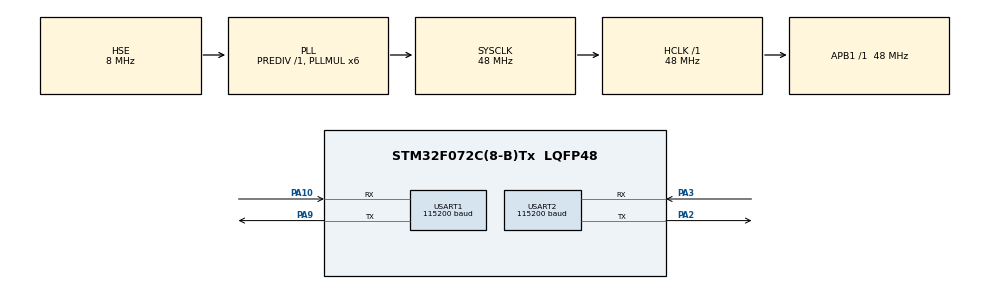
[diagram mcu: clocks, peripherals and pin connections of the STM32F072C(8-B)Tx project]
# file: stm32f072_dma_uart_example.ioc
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Dma.Request0=USART2_RX
Dma.USART2_RX.0.Direction=DMA_PERIPH_TO_MEMORY
Dma.USART2_RX.0.Instance=DMA1_Channel5
Dma.USART2_RX.0.MemDataAlignment=DMA_MDATAALIGN_BYTE
Dma.USART2_RX.0.MemInc=DMA_MINC_ENABLE
Dma.USART2_RX.0.Mode=DMA_CIRCULAR
Dma.USART2_RX.0.PeriphDataAlignment=DMA_PDATAALIGN_BYTE
Dma.USART2_RX.0.PeriphInc=DMA_PINC_DISABLE
Dma.USART2_RX.0.Priority=DMA_PRIORITY_LOW
Mcu.Family=STM32F0
Mcu.Name=STM32F072C(8-B)Tx
Mcu.Package=LQFP48
NVIC.DMA1_Channel4_5_6_7_IRQn=true\:0\:0\:false\:false\:true\:false\:true
PA10.Mode=Asynchronous
PA10.Signal=USART1_RX
PA13.Mode=Serial_Wire
PA13.Signal=SYS_SWDIO
PA14.Mode=Serial_Wire
PA14.Signal=SYS_SWCLK
PA2.Mode=Asynchronous
PA2.Signal=USART2_TX
PA3.Mode=Asynchronous
PA3.Signal=USART2_RX
PA9.Mode=Asynchronous
PA9.Signal=USART1_TX
PF0-OSC_IN.Mode=HSE-External-Oscillator
PF0-OSC_IN.Signal=RCC_OSC_IN
PF1-OSC_OUT.Mode=HSE-External-Oscillator
PF1-OSC_OUT.Signal=RCC_OSC_OUT
ProjectManager.HeapSize=0x200
ProjectManager.StackSize=0x400
ProjectManager.TargetToolchain=STM32CubeIDE
RCC.AHBFreq_Value=48000000
RCC.APB1Freq_Value=48000000
RCC.APB1TimFreq_Value=48000000
RCC.HCLKFreq_Value=48000000
RCC.PLLMUL=RCC_PLL_MUL6
RCC.PLLSourceVirtual=RCC_PLLSOURCE_HSE
RCC.SYSCLKFreq_VALUE=48000000
RCC.SYSCLKSource=RCC_SYSCLKSOURCE_PLLCLK
USART1.BaudRate=115200
USART1.VirtualMode-Asynchronous=VM_ASYNC
USART2.BaudRate=115200
USART2.VirtualMode-Asynchronous=VM_ASYNC
board=custom

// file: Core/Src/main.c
/* USER CODE BEGIN Header */
/**
  ******************************************************************************
  * @file           : main.c
  * @brief          : Main program body
  ******************************************************************************
  * @attention
  *
  * <h2><center>&copy; Copyright (c) 2020 STMicroelectronics.
  * All rights reserved.</center></h2>
  *
  * This software component is licensed by ST under BSD 3-Clause license,
  * the "License"; You may not use this file except in compliance with the
  * License. You may obtain a copy of the License at:
  *                        opensource.org/licenses/BSD-3-Clause
  *
  ******************************************************************************
  */
/* USER CODE END Header */

#include "main.h"

/* USER CODE BEGIN Includes */
#include "stdio.h"
#include "string.h"
/* USER CODE END Includes */

UART_HandleTypeDef huart1;
UART_HandleTypeDef huart2;
DMA_HandleTypeDef hdma_usart2_rx;

/* USER CODE BEGIN PV */
#define DMA_BUF_SIZE 100
uint8_t rx_dma_buf[DMA_BUF_SIZE];
/* USER CODE END PV */

void SystemClock_Config(void);
static void MX_GPIO_Init(void);
static void MX_DMA_Init(void);
static void MX_USART1_UART_Init(void);
static void MX_USART2_UART_Init(void);
/* USER CODE BEGIN PFP */

int _write(int fd, char *str, int len)
{
	for(int i=0;i<len;i++)
	{
		HAL_UART_Transmit(&huart1, (uint8_t *)&str[i], 1, 0xFFFF);
	}
	return len;
}
/* USER CODE END PFP */

/* USER CODE BEGIN 0 */

#define get_dma_data_length() huart2.hdmarx->Instance->CNDTR
#define get_dma_total_size()  huart2.RxXferSize

void uart_rx_dma_handler(){
	static uint32_t old_pos=0;
	uint32_t pos;

	uint8_t rx_buf[DMA_BUF_SIZE];
	uint32_t rx_size;

	uint8_t ch;
	uint8_t i;

	rx_size = 0;

	pos = get_dma_total_size() - get_dma_data_length();

	if(pos != old_pos) {
		if(pos > old_pos) {
			memcpy(rx_buf, &rx_dma_buf[old_pos], pos - old_pos);
			rx_size += pos - old_pos;
		} else {
			memcpy(rx_buf, &rx_dma_buf[old_pos], get_dma_total_size() - old_pos);
			rx_size += get_dma_total_size() - old_pos;

			if(pos > 0){
				memcpy(&rx_buf[get_dma_total_size() - old_pos], &rx_dma_buf[0], pos);
				rx_size += pos;
			}
		}
		old_pos = pos;
		if(rx_size > 0) {
			for(i = 0;i<rx_size;i++) {
				ch = rx_buf[i];
				printf("%02X", ch);
				/*
				 * to do

				*/
			}
			printf("\n");
		}
	}
}
/* USER CODE END 0 */

int main(void)
{

  /* MCU Configuration--------------------------------------------------------*/

  /* Reset of all peripherals, Initializes the Flash interface and the Systick. */
  HAL_Init();

  /* Configure the system clock */
  SystemClock_Config();

  /* Initialize all configured peripherals */
  MX_GPIO_Init();
  MX_DMA_Init();
  MX_USART1_UART_Init();
  MX_USART2_UART_Init();
  /* USER CODE BEGIN 2 */

	HAL_UART_Receive_DMA(&huart2, rx_dma_buf, DMA_BUF_SIZE);
  /* USER CODE END 2 */

  /* Infinite loop */
  /* USER CODE BEGIN WHILE */
  while (1)
  {
  	uart_rx_dma_handler();
    /* USER CODE END WHILE */

  }
}

void SystemClock_Config(void)
{
  RCC_OscInitTypeDef RCC_OscInitStruct = {0};
  RCC_ClkInitTypeDef RCC_ClkInitStruct = {0};
  RCC_PeriphCLKInitTypeDef PeriphClkInit = {0};

  /** Initializes the CPU, AHB and APB busses clocks
  */
  RCC_OscInitStruct.OscillatorType = RCC_OSCILLATORTYPE_HSE;
  RCC_OscInitStruct.HSEState = RCC_HSE_ON;
  RCC_OscInitStruct.PLL.PLLState = RCC_PLL_ON;
  RCC_OscInitStruct.PLL.PLLSource = RCC_PLLSOURCE_HSE;
  RCC_OscInitStruct.PLL.PLLMUL = RCC_PLL_MUL6;
  RCC_OscInitStruct.PLL.PREDIV = RCC_PREDIV_DIV1;
  if (HAL_RCC_OscConfig(&RCC_OscInitStruct) != HAL_OK)
  {
    Error_Handler();
  }
  /** Initializes the CPU, AHB and APB busses clocks
  */
  RCC_ClkInitStruct.ClockType = RCC_CLOCKTYPE_HCLK|RCC_CLOCKTYPE_SYSCLK
                              |RCC_CLOCKTYPE_PCLK1;
  RCC_ClkInitStruct.SYSCLKSource = RCC_SYSCLKSOURCE_PLLCLK;
  RCC_ClkInitStruct.AHBCLKDivider = RCC_SYSCLK_DIV1;
  RCC_ClkInitStruct.APB1CLKDivider = RCC_HCLK_DIV1;

  if (HAL_RCC_ClockConfig(&RCC_ClkInitStruct, FLASH_LATENCY_1) != HAL_OK)
  {
    Error_Handler();
  }
  PeriphClkInit.PeriphClockSelection = RCC_PERIPHCLK_USART1|RCC_PERIPHCLK_USART2;
  PeriphClkInit.Usart1ClockSelection = RCC_USART1CLKSOURCE_PCLK1;
  PeriphClkInit.Usart2ClockSelection = RCC_USART2CLKSOURCE_PCLK1;
  if (HAL_RCCEx_PeriphCLKConfig(&PeriphClkInit) != HAL_OK)
  {
    Error_Handler();
  }
}

static void MX_USART1_UART_Init(void)
{

  huart1.Instance = USART1;
  huart1.Init.BaudRate = 115200;
  huart1.Init.WordLength = UART_WORDLENGTH_8B;
  huart1.Init.StopBits = UART_STOPBITS_1;
  huart1.Init.Parity = UART_PARITY_NONE;
  huart1.Init.Mode = UART_MODE_TX_RX;
  huart1.Init.HwFlowCtl = UART_HWCONTROL_NONE;
  huart1.Init.OverSampling = UART_OVERSAMPLING_16;
  huart1.Init.OneBitSampling = UART_ONE_BIT_SAMPLE_DISABLE;
  huart1.AdvancedInit.AdvFeatureInit = UART_ADVFEATURE_NO_INIT;
  if (HAL_UART_Init(&huart1) != HAL_OK)
  {
    Error_Handler();
  }

}

static void MX_USART2_UART_Init(void)
{

  huart2.Instance = USART2;
  huart2.Init.BaudRate = 115200;
  huart2.Init.WordLength = UART_WORDLENGTH_8B;
  huart2.Init.StopBits = UART_STOPBITS_1;
  huart2.Init.Parity = UART_PARITY_NONE;
  huart2.Init.Mode = UART_MODE_TX_RX;
  huart2.Init.HwFlowCtl = UART_HWCONTROL_NONE;
  huart2.Init.OverSampling = UART_OVERSAMPLING_16;
  huart2.Init.OneBitSampling = UART_ONE_BIT_SAMPLE_DISABLE;
  huart2.AdvancedInit.AdvFeatureInit = UART_ADVFEATURE_NO_INIT;
  if (HAL_UART_Init(&huart2) != HAL_OK)
  {
    Error_Handler();
  }

}

static void MX_DMA_Init(void)
{

  /* DMA controller clock enable */
  __HAL_RCC_DMA1_CLK_ENABLE();

  /* DMA interrupt init */
  /* DMA1_Channel4_5_6_7_IRQn interrupt configuration */
  HAL_NVIC_SetPriority(DMA1_Channel4_5_6_7_IRQn, 0, 0);
  HAL_NVIC_EnableIRQ(DMA1_Channel4_5_6_7_IRQn);

}

static void MX_GPIO_Init(void)
{

  /* GPIO Ports Clock Enable */
  __HAL_RCC_GPIOF_CLK_ENABLE();
  __HAL_RCC_GPIOA_CLK_ENABLE();

}

void Error_Handler(void)
{
}

/************************ (C) COPYRIGHT STMicroelectronics *****END OF FILE****/
